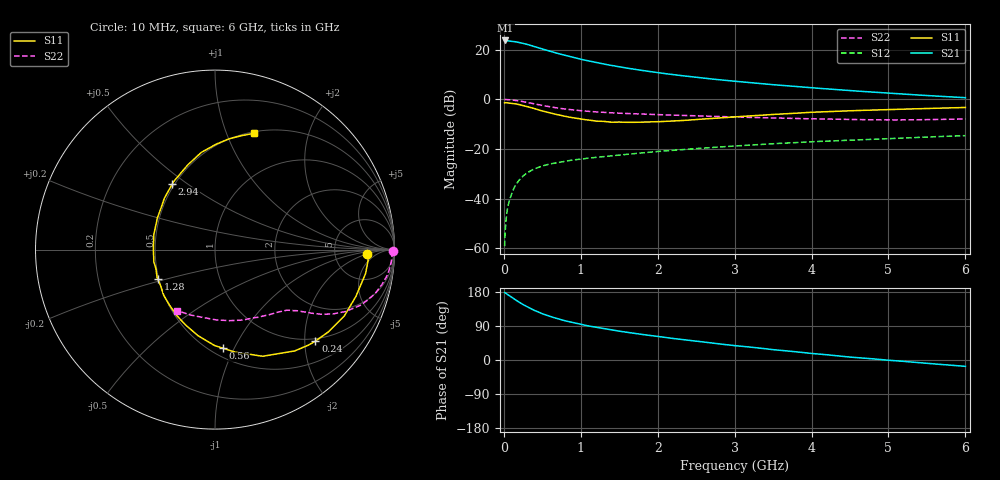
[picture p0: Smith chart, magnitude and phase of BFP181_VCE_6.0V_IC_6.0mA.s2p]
! Infineon Technologies  Discrete & RF Semiconductors
! BFP181
! VCE = 6.0 V,  IC =  6.0 mA
! Common Emitter S-Parameters:  Jan 2016
# GHz  S  MA  R  50
!  f  S11  S21  S12  S22
! GHz  MAG  ANG  MAG  ANG  MAG  ANG  MAG  ANG
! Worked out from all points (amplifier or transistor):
!   210 points, 10 MHz to 6 GHz, reference 50 ohm
!   highest |S21| = 23.7 dB at 20 MHz (marker M1)
!   |S21| within 3 dB of that: start of sweep to 455.1 MHz
!   unconditionally stable (mu >= 1): 1.657 GHz to end of sweep
!   at 185 MHz: K = 0.17, MSG = 28.1 dB, |S12| = -33.2 dB
!   at 1.52 GHz: K = 0.96, MSG = 17.7 dB, |S12| = -22.4 dB
!   at 6 GHz: K = 1.04, MAG = 6.4 dB, |S12| = -14.6 dB
!   S11 on the Smith chart (normalised r, x): 10 MHz: 12, -2; 240 MHz: 0.94, -2.24; 560 MHz: 0.57, -0.90; 1.28 GHz: 0.49, -0.19; 2.94 GHz: 0.49, +0.44; 6 GHz: 0.52, +1.26
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0.01  0.8488 -1.8  15.23 178.1  0.0011 87.3  0.9893 -0.6
0.02  0.8551 -4.0  15.3 177.1  0.0025 92.2  0.9878 -1.6
0.05  0.8496 -9.0  15.07 172.6  0.0067 87.2  0.9843 -4.1
0.15  0.8098 -27.2  14.42 158.9  0.0184 75.4  0.9506 -11.8
0.2  0.7812 -35.8  13.98 152.5  0.0236 72.0  0.9269 -15.1
0.24  0.7569 -42.4  13.48 147.5  0.0274 68.3  0.9025 -17.6
0.3  0.7183 -51.8  12.85 141.0  0.0328 63.6  0.8669 -21.0
0.4  0.6509 -65.9  11.54 130.6  0.0398 58.2  0.8064 -25.3
0.5  0.582 -78.9  10.31 122.1  0.0454 53.4  0.7524 -28.4
0.56  0.551 -85.5  9.714 117.9  0.048 51.7  0.7236 -29.8
0.7  0.4887 -101.2  8.369 108.8  0.0529 48.7  0.6655 -32.5
0.8  0.4505 -111.4  7.653 103.2  0.0565 46.8  0.6349 -33.7
1.02  0.3956 -131.2  6.299 93.3  0.0627 44.1  0.5852 -35.9
1.28  0.3592 -152.5  5.187 83.6  0.0696 42.7  0.5471 -38.3
1.52  0.3464 -169.9  4.462 75.5  0.0758 42.1  0.5224 -40.3
2.02  0.3541 160.0  3.404 61.6  0.0893 40.0  0.4895 -45.9
2.4  0.38 142.1  2.889 52.0  0.099 38.5  0.4694 -50.9
2.94  0.4361 123.1  2.358 39.4  0.113 35.8  0.4423 -58.8
3.1  0.452 118.3  2.237 36.1  0.117 34.8  0.4348 -61.4
4.1  0.5541 96.2  1.662 15.6  0.1416 28.3  0.4009 -80.3
5.1  0.6279 81.5  1.299 -2.1  0.1633 22.0  0.3841 -101.8
6  0.6839 71.4  1.077 -16.8  0.1853 15.7  0.4006 -122.1
